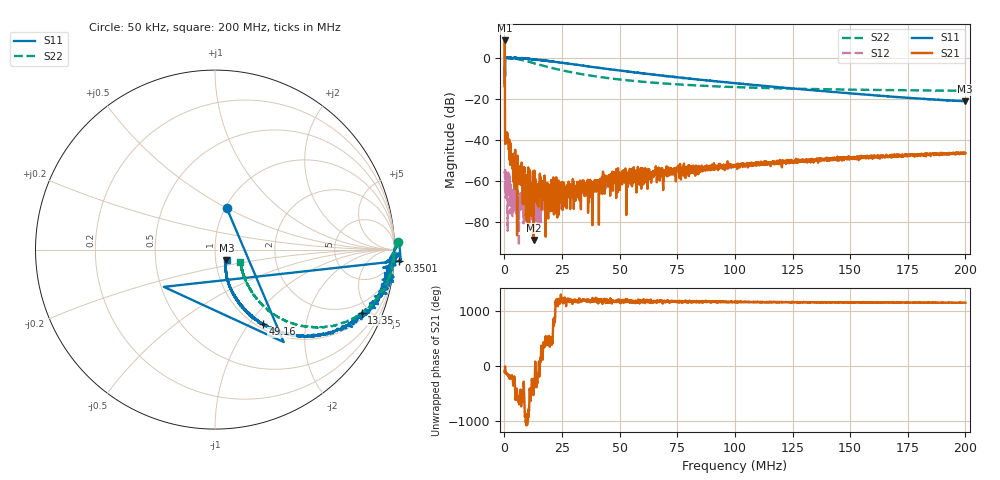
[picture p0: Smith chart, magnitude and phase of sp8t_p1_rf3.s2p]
! 26-Feb-26 11:22:34 AM
! E:\VNA_MEASUREMENTS\SP8T\SP8T_P1_RF3.S2P
! CHANNEL.1
! TR.MEASUREMENT
! CORRECTED.DATA
# GHZ S RI R 50.0
! FREQ.GHZ  S11RE  S11IM  S21RE  S21IM  S12RE  S12IM  S22RE  S22IM
!; PortSelection: Port_12
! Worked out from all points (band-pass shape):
!   2000 points, 50 kHz to 200 MHz, reference 50 ohm
!   highest |S21| = 8.38 dB at 150 kHz (marker M1); lowest = -88.8 dB at 12.65 MHz (marker M2)
!   |S21| within 3 dB of the highest: 136.5 kHz to 156.2 kHz (19.74 kHz wide, 13.5 % of centre)
!   lowest |S11| = -21.3 dB at 199.9 MHz (marker M3), VSWR 1.19, Z = 56.4 - j6.64 ohm
!   |S11| at or under -10 dB: start of sweep to 78.17 kHz; 78.51064 MHz to 78.7434 MHz (232.8 kHz wide, 0.296 % of centre); 78.79 MHz to end of sweep
!   |S22| runs from -16.2 to 0.2 dB; largest |S21 - S12| = 2.6
!   S11 on the Smith chart (normalised r, x): 50 kHz: 1.02, +0.50; 350.1 kHz: -12, -27; 13.35 MHz: 1.33, -4.49; 49.16 MHz: 1.06, -1.17; 200 MHz: 1.13, -0.13
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5e-05  0.0659 0.2303  -0.0181 -0.2043  0.00125 0.00091  1.02 0.0434
0.000150025  0.3829 -0.5154  -1.545 -2.123  0.000876 0.00149  0.9976 0.000893
0.000350075  1.026 -0.0632  -0.00373 -0.00707  0.00194 0.000609  0.9984 -0.0226
0.0012503  0.9933 -0.0301  -0.0139 -0.00414  0.000349 -0.000232  0.994 -0.0879
0.004451101  0.9947 -0.1542  0.000204 0.00061  -0.000493 0.000767  0.9131 -0.2573
0.006551626  0.9327 -0.1909  -0.000366 0.00138  -6.97e-05 -0.000302  0.8371 -0.3392
0.008152026  0.9101 -0.2583  -0.00052 0.000957  -0.000379 0.000148  0.7715 -0.3858
0.008852201  0.9138 -0.2551  -0.000534 0.000339  -0.000231 0.000991  0.7463 -0.3955
0.01265315  0.8484 -0.3486  -3.8e-06 -3.61e-05  -3.86e-05 -3.57e-05  0.5981 -0.4326
0.01335333  0.8182 -0.3511  0.000188 0.0011  0.000204 4.86e-05  0.5747 -0.4333
0.0224556  0.6265 -0.4733  -0.000879 0.000863  -0.000243 0.000239  0.366 -0.3829
0.02435608  0.5905 -0.4741  -0.000122 0.000338  -0.000221 0.000286  0.341 -0.37
0.03345835  0.4361 -0.4749  -0.000276 0.000549  -0.000202 0.00064  0.2589 -0.3023
0.0372593  0.3856 -0.4686  0.000105 0.000662  -0.000221 0.000818  0.2377 -0.28
0.04356088  0.3138 -0.438  -0.000485 0.001  -0.000346 0.000861  0.2132 -0.2476
0.04916228  0.2651 -0.4163  -0.000232 0.00142  -1.01e-05 0.00118  0.1966 -0.2236
0.06676668  0.1673 -0.3375  -0.000305 0.00144  -0.000296 0.00159  0.1711 -0.1718
0.100075  0.0891 -0.223  0.00011 0.00245  -7.93e-05 0.00236  0.1518 -0.1185
0.1333833  0.0646 -0.1484  0.000503 0.00341  -1.2e-05 0.00323  0.1459 -0.0925
0.1666917  0.0596 -0.0972  0.0002 0.00398  0.000683 0.00388  0.1436 -0.0776
0.1999  0.0639 -0.0584  0.00103 0.00466  0.00107 0.00478  0.1415 -0.0666
0.2  0.0641 -0.0588  0.00105 0.00462  0.00102 0.0048  0.1415 -0.0665
